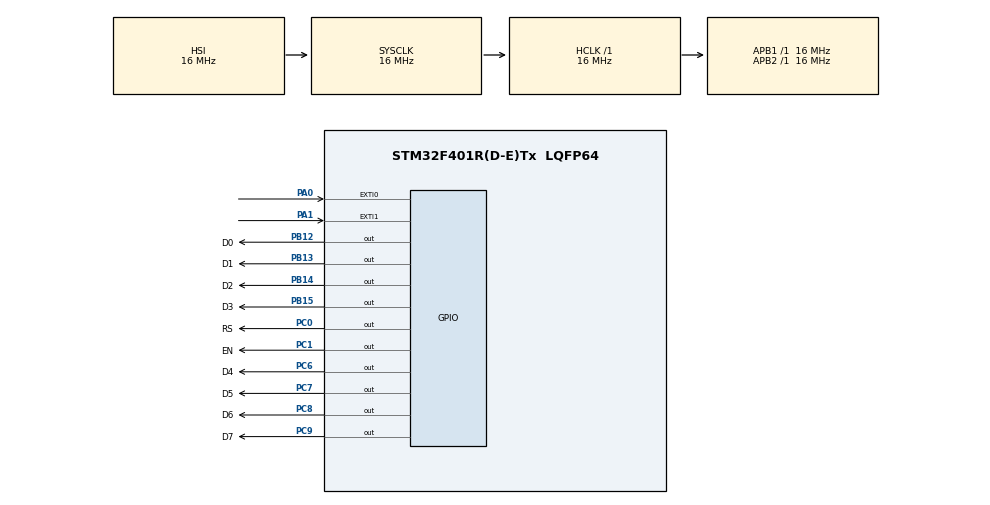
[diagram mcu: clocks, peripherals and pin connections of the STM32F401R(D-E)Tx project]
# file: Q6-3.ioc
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Mcu.Family=STM32F4
Mcu.Name=STM32F401R(D-E)Tx
Mcu.Package=LQFP64
NVIC.EXTI0_IRQn=true\:1\:0\:true\:false\:true\:true\:true
NVIC.EXTI1_IRQn=true\:1\:0\:true\:false\:true\:true\:true
NVIC.PriorityGroup=NVIC_PRIORITYGROUP_4
PA0-WKUP.GPIO_ModeDefaultEXTI=GPIO_MODE_IT_RISING
PA0-WKUP.Signal=GPXTI0
PA1.GPIO_ModeDefaultEXTI=GPIO_MODE_IT_FALLING
PA1.Signal=GPXTI1
PB12.GPIO_Label=D0
PB12.Signal=GPIO_Output
PB13.GPIO_Label=D1
PB13.Signal=GPIO_Output
PB14.GPIO_Label=D2
PB14.Signal=GPIO_Output
PB15.GPIO_Label=D3
PB15.Signal=GPIO_Output
PC0.GPIO_Label=RS
PC0.Signal=GPIO_Output
PC1.GPIO_Label=EN
PC1.Signal=GPIO_Output
PC6.GPIO_Label=D4
PC6.Signal=GPIO_Output
PC7.GPIO_Label=D5
PC7.Signal=GPIO_Output
PC8.GPIO_Label=D6
PC8.Signal=GPIO_Output
PC9.GPIO_Label=D7
PC9.Signal=GPIO_Output
ProjectManager.HeapSize=0x200
ProjectManager.StackSize=0x400
ProjectManager.TargetToolchain=STM32CubeIDE
RCC.AHBFreq_Value=16000000
RCC.APB1Freq_Value=16000000
RCC.APB2Freq_Value=16000000
RCC.CortexFreq_Value=16000000
RCC.HSE_VALUE=25000000
RCC.HSI_VALUE=16000000
RCC.LSE_VALUE=32768
RCC.SYSCLKFreq_VALUE=16000000
RCC.VCOOutputFreq_Value=192000000
TIM1.Period=0xffff
TIM1.Prescaler=16
VP_TIM1_VS_ClockSourceINT.Mode=Internal
board=custom

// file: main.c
/* USER CODE BEGIN Header */
/**
  ******************************************************************************
  * @file           : main.c
  * @brief          : Main program body
  ******************************************************************************
  * @attention
  *
  * <h2><center>&copy; Copyright (c) 2020 STMicroelectronics.
  * All rights reserved.</center></h2>
  *
  * This software component is licensed by ST under BSD 3-Clause license,
  * the "License"; You may not use this file except in compliance with the
  * License. You may obtain a copy of the License at:
  *                        opensource.org/licenses/BSD-3-Clause
  *
  ******************************************************************************
  */
/* USER CODE END Header */

#include "main.h"

/* USER CODE BEGIN Includes */
#include "STM_MY_LCD16X2.h"
#include "stdio.h"

/* USER CODE END Includes */

TIM_HandleTypeDef htim1;

/* USER CODE BEGIN PV */
uint32_t time = 0;
float speed;

/* USER CODE END PV */

void SystemClock_Config(void);
static void MX_GPIO_Init(void);
static void MX_TIM1_Init(void);

int main(void)
{

  /* MCU Configuration--------------------------------------------------------*/

  /* Reset of all peripherals, Initializes the Flash interface and the Systick. */
  HAL_Init();

  /* Configure the system clock */
  SystemClock_Config();

  /* Initialize all configured peripherals */
  MX_GPIO_Init();
  MX_TIM1_Init();
  /* USER CODE BEGIN 2 */
  LCD1602_Begin8BIT(GPIOC,GPIO_PIN_0,GPIO_PIN_1,GPIOB,GPIO_PIN_12,GPIO_PIN_13,GPIO_PIN_14,GPIO_PIN_15,GPIOC,GPIO_PIN_6,GPIO_PIN_7,GPIO_PIN_8,GPIO_PIN_9);
  HAL_TIM_Base_Start(&htim1);

  /* USER CODE END 2 */

  /* Infinite loop */
  /* USER CODE BEGIN WHILE */
  while (1)
  {
	  HAL_Delay(50);

	  speed = (float)112781.95488721 / time ; //rpm = 60 / (n*t [sec])

	  LCD1602_clear();
	  LCD1602_1stLine();
	  LCD1602_PrintFloat(speed, 2);
	  LCD1602_print(" rpm");

    /* USER CODE END WHILE */

  }
}

void SystemClock_Config(void)
{
  RCC_OscInitTypeDef RCC_OscInitStruct = {0};
  RCC_ClkInitTypeDef RCC_ClkInitStruct = {0};

  /** Configure the main internal regulator output voltage
  */
  __HAL_RCC_PWR_CLK_ENABLE();
  __HAL_PWR_VOLTAGESCALING_CONFIG(PWR_REGULATOR_VOLTAGE_SCALE2);
  /** Initializes the CPU, AHB and APB busses clocks
  */
  RCC_OscInitStruct.OscillatorType = RCC_OSCILLATORTYPE_HSI;
  RCC_OscInitStruct.HSIState = RCC_HSI_ON;
  RCC_OscInitStruct.HSICalibrationValue = RCC_HSICALIBRATION_DEFAULT;
  RCC_OscInitStruct.PLL.PLLState = RCC_PLL_NONE;
  if (HAL_RCC_OscConfig(&RCC_OscInitStruct) != HAL_OK)
  {
    Error_Handler();
  }
  /** Initializes the CPU, AHB and APB busses clocks
  */
  RCC_ClkInitStruct.ClockType = RCC_CLOCKTYPE_HCLK|RCC_CLOCKTYPE_SYSCLK
                              |RCC_CLOCKTYPE_PCLK1|RCC_CLOCKTYPE_PCLK2;
  RCC_ClkInitStruct.SYSCLKSource = RCC_SYSCLKSOURCE_HSI;
  RCC_ClkInitStruct.AHBCLKDivider = RCC_SYSCLK_DIV1;
  RCC_ClkInitStruct.APB1CLKDivider = RCC_HCLK_DIV1;
  RCC_ClkInitStruct.APB2CLKDivider = RCC_HCLK_DIV1;

  if (HAL_RCC_ClockConfig(&RCC_ClkInitStruct, FLASH_LATENCY_0) != HAL_OK)
  {
    Error_Handler();
  }
}

static void MX_TIM1_Init(void)
{

  TIM_ClockConfigTypeDef sClockSourceConfig = {0};
  TIM_MasterConfigTypeDef sMasterConfig = {0};

  htim1.Instance = TIM1;
  htim1.Init.Prescaler = 16;
  htim1.Init.CounterMode = TIM_COUNTERMODE_UP;
  htim1.Init.Period = 0xffff;
  htim1.Init.ClockDivision = TIM_CLOCKDIVISION_DIV1;
  htim1.Init.RepetitionCounter = 0;
  htim1.Init.AutoReloadPreload = TIM_AUTORELOAD_PRELOAD_DISABLE;
  if (HAL_TIM_Base_Init(&htim1) != HAL_OK)
  {
    Error_Handler();
  }
  sClockSourceConfig.ClockSource = TIM_CLOCKSOURCE_INTERNAL;
  if (HAL_TIM_ConfigClockSource(&htim1, &sClockSourceConfig) != HAL_OK)
  {
    Error_Handler();
  }
  sMasterConfig.MasterOutputTrigger = TIM_TRGO_RESET;
  sMasterConfig.MasterSlaveMode = TIM_MASTERSLAVEMODE_DISABLE;
  if (HAL_TIMEx_MasterConfigSynchronization(&htim1, &sMasterConfig) != HAL_OK)
  {
    Error_Handler();
  }

}

static void MX_GPIO_Init(void)
{
  GPIO_InitTypeDef GPIO_InitStruct = {0};

  /* GPIO Ports Clock Enable */
  __HAL_RCC_GPIOC_CLK_ENABLE();
  __HAL_RCC_GPIOA_CLK_ENABLE();
  __HAL_RCC_GPIOB_CLK_ENABLE();

  /*Configure GPIO pin Output Level */
  HAL_GPIO_WritePin(GPIOC, RS_Pin|EN_Pin|D4_Pin|D5_Pin
                          |D6_Pin|D7_Pin, GPIO_PIN_RESET);

  /*Configure GPIO pin Output Level */
  HAL_GPIO_WritePin(GPIOB, D0_Pin|D1_Pin|D2_Pin|D3_Pin, GPIO_PIN_RESET);

  /*Configure GPIO pins : RS_Pin EN_Pin D4_Pin D5_Pin
                           D6_Pin D7_Pin */
  GPIO_InitStruct.Pin = RS_Pin|EN_Pin|D4_Pin|D5_Pin
                          |D6_Pin|D7_Pin;
  GPIO_InitStruct.Mode = GPIO_MODE_OUTPUT_PP;
  GPIO_InitStruct.Pull = GPIO_NOPULL;
  GPIO_InitStruct.Speed = GPIO_SPEED_FREQ_LOW;
  HAL_GPIO_Init(GPIOC, &GPIO_InitStruct);

  /*Configure GPIO pin : PA0 */
  GPIO_InitStruct.Pin = GPIO_PIN_0;
  GPIO_InitStruct.Mode = GPIO_MODE_IT_RISING;
  GPIO_InitStruct.Pull = GPIO_NOPULL;
  HAL_GPIO_Init(GPIOA, &GPIO_InitStruct);

  /*Configure GPIO pin : PA1 */
  GPIO_InitStruct.Pin = GPIO_PIN_1;
  GPIO_InitStruct.Mode = GPIO_MODE_IT_FALLING;
  GPIO_InitStruct.Pull = GPIO_NOPULL;
  HAL_GPIO_Init(GPIOA, &GPIO_InitStruct);

  /*Configure GPIO pins : D0_Pin D1_Pin D2_Pin D3_Pin */
  GPIO_InitStruct.Pin = D0_Pin|D1_Pin|D2_Pin|D3_Pin;
  GPIO_InitStruct.Mode = GPIO_MODE_OUTPUT_PP;
  GPIO_InitStruct.Pull = GPIO_NOPULL;
  GPIO_InitStruct.Speed = GPIO_SPEED_FREQ_LOW;
  HAL_GPIO_Init(GPIOB, &GPIO_InitStruct);

  /* EXTI interrupt init*/
  HAL_NVIC_SetPriority(EXTI0_IRQn, 1, 0);
  HAL_NVIC_EnableIRQ(EXTI0_IRQn);

  HAL_NVIC_SetPriority(EXTI1_IRQn, 1, 0);
  HAL_NVIC_EnableIRQ(EXTI1_IRQn);

}

/* USER CODE BEGIN 4 */
void HAL_GPIO_EXTI_Callback(uint16_t GPIO_PIN)
{
	if(GPIO_PIN == GPIO_PIN_0)
	{
		TIM1->CNT = 0;
	}
	if(GPIO_PIN == GPIO_PIN_1)
	{
		time = TIM1->CNT;
	}
}

/* USER CODE END 4 */

void Error_Handler(void)
{
}

/************************ (C) COPYRIGHT STMicroelectronics *****END OF FILE****/
